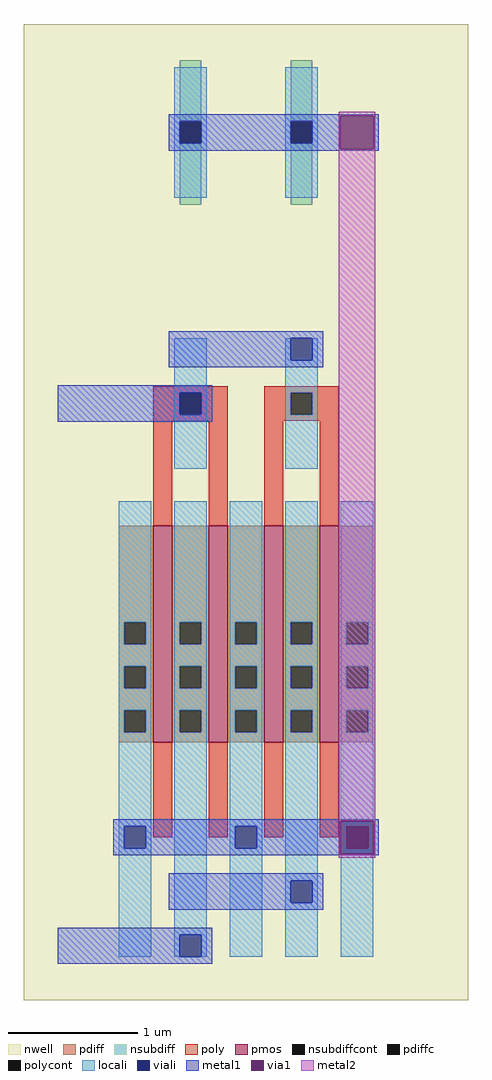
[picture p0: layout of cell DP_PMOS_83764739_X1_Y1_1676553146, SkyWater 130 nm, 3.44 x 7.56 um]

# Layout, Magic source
magic
tech sky130A
magscale 1 2
<< nwell >>
rect 0 0 688 1512
<< pmos >>
rect 200 399 230 735
rect 286 399 316 735
rect 372 399 402 735
rect 458 399 488 735
<< pdiff >>
rect 147 585 200 735
rect 147 551 155 585
rect 189 551 200 585
rect 147 517 200 551
rect 147 483 155 517
rect 189 483 200 517
rect 147 449 200 483
rect 147 415 155 449
rect 189 415 200 449
rect 147 399 200 415
rect 230 585 286 735
rect 230 551 241 585
rect 275 551 286 585
rect 230 517 286 551
rect 230 483 241 517
rect 275 483 286 517
rect 230 449 286 483
rect 230 415 241 449
rect 275 415 286 449
rect 230 399 286 415
rect 316 585 372 735
rect 316 551 327 585
rect 361 551 372 585
rect 316 517 372 551
rect 316 483 327 517
rect 361 483 372 517
rect 316 449 372 483
rect 316 415 327 449
rect 361 415 372 449
rect 316 399 372 415
rect 402 585 458 735
rect 402 551 413 585
rect 447 551 458 585
rect 402 517 458 551
rect 402 483 413 517
rect 447 483 458 517
rect 402 449 458 483
rect 402 415 413 449
rect 447 415 458 449
rect 402 399 458 415
rect 488 585 541 735
rect 488 551 499 585
rect 533 551 541 585
rect 488 517 541 551
rect 488 483 499 517
rect 533 483 541 517
rect 488 449 541 483
rect 488 415 499 449
rect 533 415 541 449
rect 488 399 541 415
<< pdiffc >>
rect 155 551 189 585
rect 155 483 189 517
rect 155 415 189 449
rect 241 551 275 585
rect 241 483 275 517
rect 241 415 275 449
rect 327 551 361 585
rect 327 483 361 517
rect 327 415 361 449
rect 413 551 447 585
rect 413 483 447 517
rect 413 415 447 449
rect 499 551 533 585
rect 499 483 533 517
rect 499 415 533 449
<< nsubdiff >>
rect 241 1361 275 1456
rect 241 1232 275 1327
rect 413 1361 447 1456
rect 413 1232 447 1327
<< nsubdiffcont >>
rect 241 1327 275 1361
rect 413 1327 447 1361
<< poly >>
rect 200 941 316 951
rect 200 907 241 941
rect 275 907 316 941
rect 200 897 316 907
rect 200 735 230 897
rect 286 735 316 897
rect 372 941 488 951
rect 372 907 413 941
rect 447 907 488 941
rect 372 897 488 907
rect 372 735 402 897
rect 458 735 488 897
rect 200 252 230 399
rect 286 252 316 399
rect 372 252 402 399
rect 458 252 488 399
<< polycont >>
rect 241 907 275 941
rect 413 907 447 941
<< locali >>
rect 233 1361 283 1445
rect 233 1327 241 1361
rect 275 1327 283 1361
rect 233 1243 283 1327
rect 405 1361 455 1445
rect 405 1327 413 1361
rect 447 1327 455 1361
rect 405 1243 455 1327
rect 233 941 283 1025
rect 233 907 241 941
rect 275 907 283 941
rect 233 823 283 907
rect 405 991 413 1025
rect 447 991 455 1025
rect 405 941 455 991
rect 405 907 413 941
rect 447 907 455 941
rect 405 823 455 907
rect 147 585 197 773
rect 147 551 155 585
rect 189 551 197 585
rect 147 517 197 551
rect 147 483 155 517
rect 189 483 197 517
rect 147 449 197 483
rect 147 415 155 449
rect 189 415 197 449
rect 147 269 197 415
rect 147 235 155 269
rect 189 235 197 269
rect 147 67 197 235
rect 233 585 283 773
rect 233 551 241 585
rect 275 551 283 585
rect 233 517 283 551
rect 233 483 241 517
rect 275 483 283 517
rect 233 449 283 483
rect 233 415 241 449
rect 275 415 283 449
rect 233 101 283 415
rect 233 67 241 101
rect 275 67 283 101
rect 319 585 369 773
rect 319 551 327 585
rect 361 551 369 585
rect 319 517 369 551
rect 319 483 327 517
rect 361 483 369 517
rect 319 449 369 483
rect 319 415 327 449
rect 361 415 369 449
rect 319 269 369 415
rect 319 235 327 269
rect 361 235 369 269
rect 319 67 369 235
rect 405 585 455 773
rect 405 551 413 585
rect 447 551 455 585
rect 405 517 455 551
rect 405 483 413 517
rect 447 483 455 517
rect 405 449 455 483
rect 405 415 413 449
rect 447 415 455 449
rect 405 185 455 415
rect 405 151 413 185
rect 447 151 455 185
rect 405 67 455 151
rect 491 585 541 773
rect 491 551 499 585
rect 533 551 541 585
rect 491 517 541 551
rect 491 483 499 517
rect 533 483 541 517
rect 491 449 541 483
rect 491 415 499 449
rect 533 415 541 449
rect 491 269 541 415
rect 491 235 499 269
rect 533 235 541 269
rect 491 67 541 235
<< viali >>
rect 241 1327 275 1361
rect 413 1327 447 1361
rect 241 907 275 941
rect 413 991 447 1025
rect 155 235 189 269
rect 241 67 275 101
rect 327 235 361 269
rect 413 151 447 185
rect 499 235 533 269
<< metal1 >>
rect 224 1370 550 1372
rect 224 1361 490 1370
rect 224 1327 241 1361
rect 275 1327 413 1361
rect 447 1327 490 1361
rect 224 1318 490 1327
rect 542 1318 550 1370
rect 224 1316 550 1318
rect 224 1025 464 1036
rect 224 991 413 1025
rect 447 991 464 1025
rect 224 980 464 991
rect 52 941 292 952
rect 52 907 241 941
rect 275 907 292 941
rect 52 896 292 907
rect 138 278 550 280
rect 138 269 490 278
rect 138 235 155 269
rect 189 235 327 269
rect 361 235 490 269
rect 138 226 490 235
rect 542 226 550 278
rect 138 224 550 226
rect 224 185 464 196
rect 224 151 413 185
rect 447 151 464 185
rect 224 140 464 151
rect 52 101 292 112
rect 52 67 241 101
rect 275 67 292 101
rect 52 56 292 67
<< via1 >>
rect 490 1318 542 1370
rect 490 269 542 278
rect 490 235 499 269
rect 499 235 533 269
rect 533 235 542 269
rect 490 226 542 235
<< metal2 >>
rect 488 1370 544 1376
rect 488 1318 490 1370
rect 542 1318 544 1370
rect 488 278 544 1318
rect 488 226 490 278
rect 542 226 544 278
rect 488 220 544 226
<< end >>
